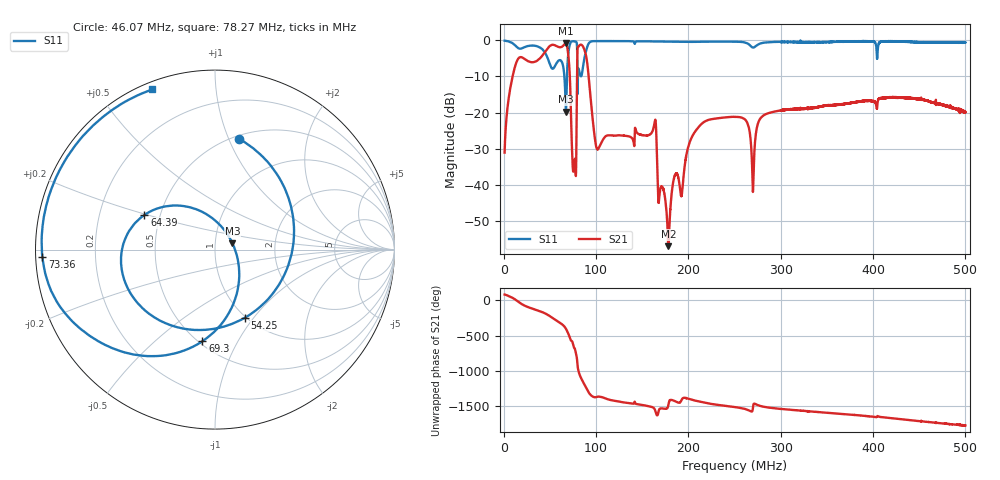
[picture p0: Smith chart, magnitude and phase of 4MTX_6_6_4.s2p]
! NanoVNA-App
! Date: 2026-08-18 22:08:14
! Start: 1MHz Stop: 500MHz Points: 6401
! S-Parameter data: F S11 S21 S12 S22
# Hz S RI R 50
!  Frequency  S11_Real  S11_Imag  S21_Real  S21_Imag  S12_Real  S12_Imag  S22_Real  S22_Imag
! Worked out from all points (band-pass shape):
!   6401 points, 1 MHz to 500 MHz, reference 50 ohm
!   highest |S21| = -0.87 dB at 67.12 MHz (marker M1); lowest = -56.9 dB at 178.3 MHz (marker M2)
!   |S21| within 3 dB of the highest: 42.91 MHz to 69.87 MHz (26.96 MHz wide, 47.8 % of centre); 79.76 MHz to 88.87 MHz (9.116 MHz wide, 10.8 % of centre)
!   lowest |S11| = -19.7 dB at 67.43 MHz (marker M3), VSWR 1.23, Z = 60.5 + j4.42 ohm
!   |S11| at or under -10 dB: 65.74 MHz to 68.52 MHz (2.782 MHz wide, 4.14 % of centre); 79.85 MHz to 80.32 MHz (475.2 kHz wide, 0.593 % of centre)
!   S12 and S22 are empty: the file has one direction only
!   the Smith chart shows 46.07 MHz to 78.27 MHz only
!   S11 on the Smith chart (normalised r, x): 46.07 MHz: 0.53, +1.09; 54.25 MHz: 0.98, -0.90; 64.39 MHz: 0.41, +0.20; 69.3 MHz: 0.52, -0.73; 73.36 MHz: 0.02, -0.02; 78.27 MHz: 0.03, +0.68
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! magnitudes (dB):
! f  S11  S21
! 1 MHz  -0.1  -31.0
! 14.49 MHz  -1.9  -5.6
! 46.07 MHz  -4.0  -2.7
! 54.25 MHz  -7.6  -1.3
! 64.39 MHz  -7.2  -1.5
! 67.12 MHz  -18.4  -0.9
! 67.43 MHz  -19.7  -0.9
! 69.3 MHz  -5.8  -2.7
! 73.36 MHz  -0.3  -25.2
! 76.24 MHz  -0.2  -35.4
! 78.27 MHz  -0.4  -37.2
! 84.19 MHz  -9.8  -1.2
! 101.3 MHz  -0.2  -30.1
! 162.8 MHz  -0.3  -23.6
! 167.4 MHz  -0.3  -44.1
! 178.3 MHz  -0.3  -56.9
! 206.1 MHz  -0.4  -25.7
! 250.5 MHz  -0.4  -21.1
! 269.9 MHz  -2.0  -41.9
! 333.7 MHz  -0.5  -18.7
! 416.9 MHz  -0.3  -15.8
! 500 MHz  -0.6  -19.9
